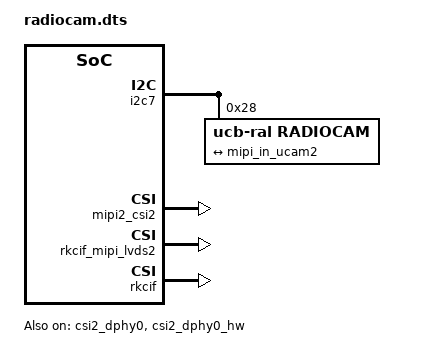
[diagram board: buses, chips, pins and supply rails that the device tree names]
/dts-v1/;
/plugin/;

/{
    fragment@0 {
        target = <&i2c7>;
        __overlay__ {
            #address-cells = <1>;
            #size-cells = <0>;
            radiocam@28 {
                status = "okay";
                compatible = "ucb-ral,radiocam";
                reg = <0x28>;
                port {
                    radiocam_out: endpoint {
                        remote-endpoint = <&mipi_in_ucam2>;
                        data-lanes = <1 2 3 4>;
                        lane-polarities = <0 1 0 0 0>;
                        link-frequencies = /bits/ 64 <160000000>;
                    };
                };
            };
        };
    };

    fragment@1 {
        target = <&csi2_dphy0>; 
        __overlay__ {
        ports {
            #address-cells = <1>;
            #size-cells = <0>;
            port@0 {
                #address-cells = <1>;
                #size-cells = <0>;
                mipi_in_ucam2: endpoint@2 {
                    reg = <2>;
                    remote-endpoint = <&radiocam_out>;
                    data-lanes = <1 2 3 4>;
                    lane-polarities = <0 0 0 0 0>;
                    link-frequencies = /bits/ 64 <160000000>;
                };
            };
        };
        };
    };

    fragment@2 {
        target = <&csi2_dphy0_hw>;

        __overlay__ {
            status = "okay";
        };
    };

    fragment@3 {
        target = <&csi2_dphy0>;

        __overlay__ {
            status = "okay";
        };
    };

    fragment@4 {
        target = <&mipi2_csi2>;

        __overlay__ {
            status = "okay";
        };
    };

    fragment@5 {
        target = <&rkcif_mipi_lvds2>;

        __overlay__ {
            status = "okay";
        };
    };

    fragment@6 {
        target = <&rkcif>;

        __overlay__ {
            status = "okay";
        };
    };

    fragment@7 {
        target = <&rkcif_mmu>;

        __overlay__ {
            status = "okay";
        };
    };
};
